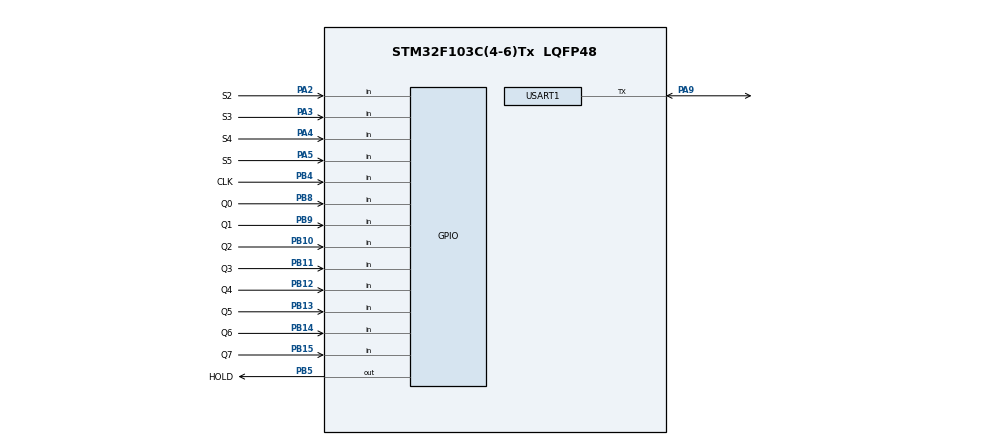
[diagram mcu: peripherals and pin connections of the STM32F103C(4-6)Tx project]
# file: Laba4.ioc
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Mcu.Family=STM32F1
PA2.GPIO_PuPd=GPIO_PULLUP
PB9.GPIO_Label=Q1
USART1.BaudRate=2400
PB14.GPIO_Label=Q6
PA3.GPIO_PuPd=GPIO_PULLUP
PB11.GPIO_Label=Q3
PB13.GPIO_Label=Q5
PB11.Signal=GPIO_Input
PB13.Signal=GPIO_Input
PB15.Signal=GPIO_Input
VP_SYS_VS_ND.Mode=No_Debug
ProjectManager.StackSize=0x400
PB8.GPIO_Label=Q0
PA9.Mode=Half_duplex(single_wire_mode)
ProjectManager.TargetToolchain=SW4STM32
PB10.GPIO_Label=Q2
PA9.Signal=USART1_TX
PB5.PinState=GPIO_PIN_SET
PB10.Signal=GPIO_Input
PB14.Signal=GPIO_Input
PA5.Signal=GPIO_Input
PA4.GPIO_PuPd=GPIO_PULLUP
board=custom
PB12.GPIO_Label=Q4
RCC.APB2Freq_Value=8000000
PB4.GPIO_Label=CLK
PB15.GPIO_Label=Q7
PA5.GPIO_PuPd=GPIO_PULLUP
Mcu.Name=STM32F103C(4-6)Tx
PA2.Signal=GPIO_Input
PA4.Signal=GPIO_Input
Mcu.Package=LQFP48
PB5.Signal=GPIO_Output
PB9.Signal=GPIO_Input
PA5.GPIO_Label=S5
PB5.GPIO_PuPd=GPIO_NOPULL
USART1.VirtualMode=VM_ASYNC
PA2.GPIO_Label=S2
ProjectManager.HeapSize=0x200
NVIC.PriorityGroup=NVIC_PRIORITYGROUP_4
PB5.GPIO_Label=HOLD
PB8.Signal=GPIO_Input
NVIC.USART1_IRQn=true\:0\:0\:false\:false\:true\:true\:true
RCC.APB1Freq_Value=8000000
PA4.GPIO_Label=S4
PB12.Signal=GPIO_Input
PB4.Signal=GPIO_Input
PA3.GPIO_Label=S3
PA3.Signal=GPIO_Input

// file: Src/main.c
/* USER CODE BEGIN Header */
/**
  ******************************************************************************
  * @file           : main.c
  * @brief          : Main program body
  ******************************************************************************
  * @attention
  *
  * <h2><center>&copy; Copyright (c) 2020 STMicroelectronics.
  * All rights reserved.</center></h2>
  *
  * This software component is licensed by ST under BSD 3-Clause license,
  * the "License"; You may not use this file except in compliance with the
  * License. You may obtain a copy of the License at:
  *                        opensource.org/licenses/BSD-3-Clause
  *
  ******************************************************************************
  */
/* USER CODE END Header */

#include "main.h"

/* USER CODE BEGIN Includes */
#include "stdlib.h"
#include "limits.h"
/* USER CODE END Includes */

/* USER CODE BEGIN PD */
#define s2() HAL_GPIO_ReadPin(GPIOA,GPIO_PIN_2)
#define s3() HAL_GPIO_ReadPin(GPIOA,GPIO_PIN_3)
#define s4() HAL_GPIO_ReadPin(GPIOA,GPIO_PIN_4)
#define s5() HAL_GPIO_ReadPin(GPIOA,GPIO_PIN_5)
/* USER CODE END PD */

UART_HandleTypeDef huart1;

/* USER CODE BEGIN PV */
uint32_t adress = 0x20000160;//адрес для его записи
uint32_t newadress = 0x20000180;//адрес для нового массива
int16_t k = 0x4422;//константа
uint8_t len = 4;//размер массива
uint8_t tx_index=0;
/* USER CODE END PV */

void SystemClock_Config(void);
static void MX_GPIO_Init(void);
static void MX_USART1_UART_Init(void);

/* USER CODE BEGIN 0 */
//загружаем массив в память

void LoadArray(uint32_t adress, int8_t* array, uint8_t length){
	for(int i=0;i<length;i++){
		HAL_FLASH_Program(FLASH_TYPEPROGRAM_HALFWORD,adress+i,array[i]);
	}
}

//читаем элемент
int16_t ReadElement(int32_t adress) {
	return (*(__IO int16_t*) adress);
}

//вычитаем из массива константу с учетом знака
void SubMas(){
	int16_t temp = 0;
	int16_t tempMas = 0;
	int counter = 0;
	for(int i=0; i<len; i++){
		temp = ReadElement(adress + i*2);
		tempMas = temp - k;
		if (tempMas < SHRT_MAX && tempMas > SHRT_MIN) {
			HAL_FLASH_Program(FLASH_TYPEPROGRAM_HALFWORD,newadress + counter*2,tempMas);
			counter++;
		}
	}
}

int8_t ReadPort(void){
	return HAL_GPIO_ReadPin(Q0_GPIO_Port,Q0_Pin)|
			(HAL_GPIO_ReadPin(Q1_GPIO_Port,Q1_Pin)<<1)|
			(HAL_GPIO_ReadPin(Q2_GPIO_Port,Q2_Pin)<<2)|
			(HAL_GPIO_ReadPin(Q3_GPIO_Port,Q3_Pin)<<3)|
			(HAL_GPIO_ReadPin(Q4_GPIO_Port,Q4_Pin)<<4)|
			(HAL_GPIO_ReadPin(Q5_GPIO_Port,Q5_Pin)<<5)|
			(HAL_GPIO_ReadPin(Q6_GPIO_Port,Q6_Pin)<<6)|
			(HAL_GPIO_ReadPin(Q7_GPIO_Port,Q7_Pin)<<7);
}

void Input(){
	int8_t temp[len*2];
	HAL_GPIO_WritePin(HOLD_GPIO_Port,HOLD_Pin,GPIO_PIN_RESET);//разрешаем передачу ПГ
	for(int i=0;i<len*2;i++){
		while(HAL_GPIO_ReadPin(CLK_GPIO_Port,CLK_Pin)){
			//ждем clkout
		}
		while(!HAL_GPIO_ReadPin(CLK_GPIO_Port,CLK_Pin)){
			//ждем clkout
		}
		temp[i] = ReadPort();//читаем байт
	}
	HAL_GPIO_WritePin(HOLD_GPIO_Port,HOLD_Pin,GPIO_PIN_SET);//останавливаем передачу ПГ
	LoadArray(adress, temp, len*2);//загружаем принятый массив в ОЗУ
}

void HAL_UART_TxCpltCallback(UART_HandleTypeDef *huart){
	if(huart->Instance == USART1 && tx_index<len*2-1){
		HAL_UART_Transmit_IT(&huart1,(int8_t)ReadElement(newadress+tx_index),1);//передаем байт через uart
		tx_index++;
	}
}
/* USER CODE END 0 */

int main(void)
{

  /* MCU Configuration--------------------------------------------------------*/

  /* Reset of all peripherals, Initializes the Flash interface and the Systick. */
  HAL_Init();

  /* Configure the system clock */
  SystemClock_Config();

  /* Initialize all configured peripherals */
  MX_GPIO_Init();
  MX_USART1_UART_Init();
  /* USER CODE BEGIN 2 */
  while(!s2() || !s3() || s4() || !s5()) {}//ждем нужного значения на входах порта
  Input();
  SubMas();
  HAL_UART_ENABLE_IT(huart1,UART_IT_TXE);//разрешаем прерывания uart
  /* USER CODE END 2 */

  /* Infinite loop */
  while (1)
  {

  }
}

void SystemClock_Config(void)
{
  RCC_OscInitTypeDef RCC_OscInitStruct = {0};
  RCC_ClkInitTypeDef RCC_ClkInitStruct = {0};

  /** Initializes the CPU, AHB and APB busses clocks
  */
  RCC_OscInitStruct.OscillatorType = RCC_OSCILLATORTYPE_HSI;
  RCC_OscInitStruct.HSIState = RCC_HSI_ON;
  RCC_OscInitStruct.HSICalibrationValue = RCC_HSICALIBRATION_DEFAULT;
  RCC_OscInitStruct.PLL.PLLState = RCC_PLL_NONE;
  if (HAL_RCC_OscConfig(&RCC_OscInitStruct) != HAL_OK)
  {
    Error_Handler();
  }
  /** Initializes the CPU, AHB and APB busses clocks
  */
  RCC_ClkInitStruct.ClockType = RCC_CLOCKTYPE_HCLK|RCC_CLOCKTYPE_SYSCLK
                              |RCC_CLOCKTYPE_PCLK1|RCC_CLOCKTYPE_PCLK2;
  RCC_ClkInitStruct.SYSCLKSource = RCC_SYSCLKSOURCE_HSI;
  RCC_ClkInitStruct.AHBCLKDivider = RCC_SYSCLK_DIV1;
  RCC_ClkInitStruct.APB1CLKDivider = RCC_HCLK_DIV1;
  RCC_ClkInitStruct.APB2CLKDivider = RCC_HCLK_DIV1;

  if (HAL_RCC_ClockConfig(&RCC_ClkInitStruct, FLASH_LATENCY_0) != HAL_OK)
  {
    Error_Handler();
  }
}

static void MX_USART1_UART_Init(void)
{

  huart1.Instance = USART1;
  huart1.Init.BaudRate = 2400;
  huart1.Init.WordLength = UART_WORDLENGTH_8B;
  huart1.Init.StopBits = UART_STOPBITS_1;
  huart1.Init.Parity = UART_PARITY_NONE;
  huart1.Init.Mode = UART_MODE_TX_RX;
  huart1.Init.HwFlowCtl = UART_HWCONTROL_NONE;
  huart1.Init.OverSampling = UART_OVERSAMPLING_16;
  if (HAL_HalfDuplex_Init(&huart1) != HAL_OK)
  {
    Error_Handler();
  }

}

static void MX_GPIO_Init(void)
{
  GPIO_InitTypeDef GPIO_InitStruct = {0};

  /* GPIO Ports Clock Enable */
  __HAL_RCC_GPIOA_CLK_ENABLE();
  __HAL_RCC_GPIOB_CLK_ENABLE();

  /*Configure GPIO pin Output Level */
  HAL_GPIO_WritePin(HOLD_GPIO_Port, HOLD_Pin, GPIO_PIN_SET);

  /*Configure GPIO pins : S2_Pin S3_Pin S4_Pin S5_Pin */
  GPIO_InitStruct.Pin = S2_Pin|S3_Pin|S4_Pin|S5_Pin;
  GPIO_InitStruct.Mode = GPIO_MODE_INPUT;
  GPIO_InitStruct.Pull = GPIO_PULLUP;
  HAL_GPIO_Init(GPIOA, &GPIO_InitStruct);

  /*Configure GPIO pins : Q2_Pin Q3_Pin Q4_Pin Q5_Pin
                           Q6_Pin Q7_Pin CLK_Pin Q0_Pin
                           Q1_Pin */
  GPIO_InitStruct.Pin = Q2_Pin|Q3_Pin|Q4_Pin|Q5_Pin
                          |Q6_Pin|Q7_Pin|CLK_Pin|Q0_Pin
                          |Q1_Pin;
  GPIO_InitStruct.Mode = GPIO_MODE_INPUT;
  GPIO_InitStruct.Pull = GPIO_NOPULL;
  HAL_GPIO_Init(GPIOB, &GPIO_InitStruct);

  /*Configure GPIO pin : HOLD_Pin */
  GPIO_InitStruct.Pin = HOLD_Pin;
  GPIO_InitStruct.Mode = GPIO_MODE_OUTPUT_PP;
  GPIO_InitStruct.Pull = GPIO_NOPULL;
  GPIO_InitStruct.Speed = GPIO_SPEED_FREQ_LOW;
  HAL_GPIO_Init(HOLD_GPIO_Port, &GPIO_InitStruct);

}

void Error_Handler(void)
{
}

/************************ (C) COPYRIGHT STMicroelectronics *****END OF FILE****/
